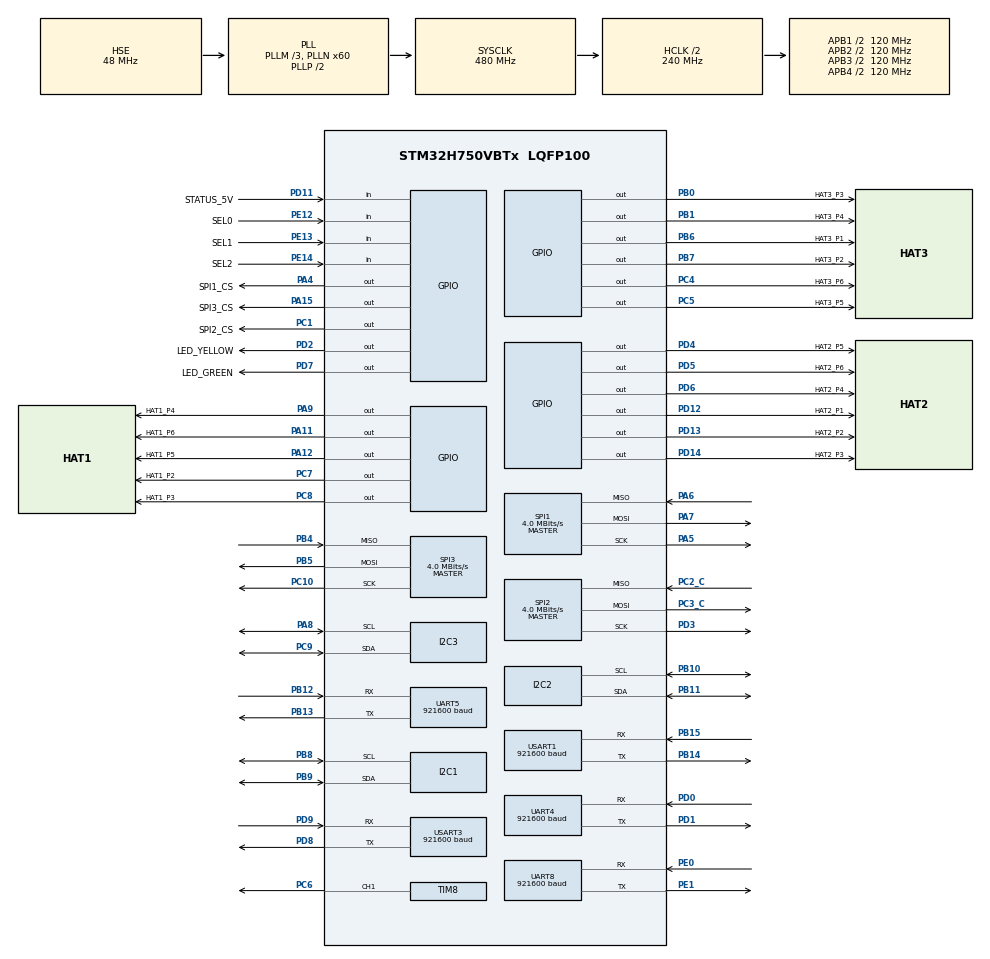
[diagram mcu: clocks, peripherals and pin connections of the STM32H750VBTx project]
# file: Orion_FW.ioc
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CORTEX_M7.AccessPermission-Cortex_Memory_Protection_Unit_Region0_Settings=MPU_REGION_FULL_ACCESS
CORTEX_M7.AccessPermission-Cortex_Memory_Protection_Unit_Region1_Settings=MPU_REGION_FULL_ACCESS
CORTEX_M7.BaseAddress-Cortex_Memory_Protection_Unit_Region0_Settings=0x90000000
CORTEX_M7.BaseAddress-Cortex_Memory_Protection_Unit_Region1_Settings=0x90000000
CORTEX_M7.CPU_DCache=Enabled
CORTEX_M7.CPU_ICache=Enabled
CORTEX_M7.DisableExec-Cortex_Memory_Protection_Unit_Region0_Settings=MPU_INSTRUCTION_ACCESS_DISABLE
CORTEX_M7.DisableExec-Cortex_Memory_Protection_Unit_Region1_Settings=MPU_INSTRUCTION_ACCESS_ENABLE
CORTEX_M7.Enable-Cortex_Memory_Protection_Unit_Region0_Settings=MPU_REGION_ENABLE
CORTEX_M7.Enable-Cortex_Memory_Protection_Unit_Region1_Settings=MPU_REGION_ENABLE
CORTEX_M7.IsBufferable-Cortex_Memory_Protection_Unit_Region0_Settings=MPU_ACCESS_BUFFERABLE
CORTEX_M7.IsBufferable-Cortex_Memory_Protection_Unit_Region1_Settings=MPU_ACCESS_BUFFERABLE
CORTEX_M7.IsCacheable-Cortex_Memory_Protection_Unit_Region0_Settings=MPU_ACCESS_CACHEABLE
CORTEX_M7.IsCacheable-Cortex_Memory_Protection_Unit_Region1_Settings=MPU_ACCESS_CACHEABLE
CORTEX_M7.MPU_Control=MPU_PRIVILEGED_DEFAULT
CORTEX_M7.Size-Cortex_Memory_Protection_Unit_Region0_Settings=MPU_REGION_SIZE_16MB
CORTEX_M7.Size-Cortex_Memory_Protection_Unit_Region1_Settings=MPU_REGION_SIZE_1MB
Dma.Request0=UART4_RX
Dma.Request1=UART5_RX
Dma.Request2=UART8_RX
Dma.Request3=USART3_RX
Dma.UART4_RX.0.Direction=DMA_PERIPH_TO_MEMORY
Dma.UART4_RX.0.EventEnable=DISABLE
Dma.UART4_RX.0.FIFOMode=DMA_FIFOMODE_DISABLE
Dma.UART4_RX.0.Instance=DMA1_Stream1
Dma.UART4_RX.0.MemDataAlignment=DMA_MDATAALIGN_BYTE
Dma.UART4_RX.0.MemInc=DMA_MINC_ENABLE
Dma.UART4_RX.0.Mode=DMA_CIRCULAR
Dma.UART4_RX.0.PeriphDataAlignment=DMA_PDATAALIGN_BYTE
Dma.UART4_RX.0.PeriphInc=DMA_PINC_DISABLE
Dma.UART4_RX.0.Polarity=HAL_DMAMUX_REQ_GEN_RISING
Dma.UART4_RX.0.Priority=DMA_PRIORITY_HIGH
Dma.UART4_RX.0.RequestNumber=1
Dma.UART4_RX.0.SignalID=NONE
Dma.UART4_RX.0.SyncEnable=DISABLE
Dma.UART4_RX.0.SyncPolarity=HAL_DMAMUX_SYNC_NO_EVENT
Dma.UART4_RX.0.SyncRequestNumber=1
Dma.UART4_RX.0.SyncSignalID=NONE
Dma.UART5_RX.1.Direction=DMA_PERIPH_TO_MEMORY
Dma.UART5_RX.1.EventEnable=DISABLE
Dma.UART5_RX.1.FIFOMode=DMA_FIFOMODE_DISABLE
Dma.UART5_RX.1.Instance=DMA1_Stream2
Dma.UART5_RX.1.MemDataAlignment=DMA_MDATAALIGN_BYTE
Dma.UART5_RX.1.MemInc=DMA_MINC_ENABLE
Dma.UART5_RX.1.Mode=DMA_CIRCULAR
Dma.UART5_RX.1.PeriphDataAlignment=DMA_PDATAALIGN_BYTE
Dma.UART5_RX.1.PeriphInc=DMA_PINC_DISABLE
Dma.UART5_RX.1.Polarity=HAL_DMAMUX_REQ_GEN_RISING
Dma.UART5_RX.1.Priority=DMA_PRIORITY_HIGH
Dma.UART5_RX.1.RequestNumber=1
Dma.UART5_RX.1.SignalID=NONE
Dma.UART5_RX.1.SyncEnable=DISABLE
Dma.UART5_RX.1.SyncPolarity=HAL_DMAMUX_SYNC_NO_EVENT
Dma.UART5_RX.1.SyncRequestNumber=1
Dma.UART5_RX.1.SyncSignalID=NONE
Dma.UART8_RX.2.Direction=DMA_PERIPH_TO_MEMORY
Dma.UART8_RX.2.EventEnable=DISABLE
Dma.UART8_RX.2.FIFOMode=DMA_FIFOMODE_DISABLE
Dma.UART8_RX.2.Instance=DMA1_Stream3
Dma.UART8_RX.2.MemDataAlignment=DMA_MDATAALIGN_BYTE
Dma.UART8_RX.2.MemInc=DMA_MINC_ENABLE
Dma.UART8_RX.2.Mode=DMA_CIRCULAR
Dma.UART8_RX.2.PeriphDataAlignment=DMA_PDATAALIGN_BYTE
Dma.UART8_RX.2.PeriphInc=DMA_PINC_DISABLE
Dma.UART8_RX.2.Polarity=HAL_DMAMUX_REQ_GEN_RISING
Dma.UART8_RX.2.Priority=DMA_PRIORITY_HIGH
Dma.UART8_RX.2.RequestNumber=1
Dma.UART8_RX.2.SignalID=NONE
Dma.UART8_RX.2.SyncEnable=DISABLE
Dma.UART8_RX.2.SyncPolarity=HAL_DMAMUX_SYNC_NO_EVENT
Dma.UART8_RX.2.SyncRequestNumber=1
Dma.UART8_RX.2.SyncSignalID=NONE
Dma.USART3_RX.3.Direction=DMA_PERIPH_TO_MEMORY
Dma.USART3_RX.3.EventEnable=DISABLE
Dma.USART3_RX.3.FIFOMode=DMA_FIFOMODE_DISABLE
Dma.USART3_RX.3.Instance=DMA1_Stream0
Dma.USART3_RX.3.MemDataAlignment=DMA_MDATAALIGN_BYTE
Dma.USART3_RX.3.MemInc=DMA_MINC_ENABLE
Dma.USART3_RX.3.Mode=DMA_CIRCULAR
Dma.USART3_RX.3.PeriphDataAlignment=DMA_PDATAALIGN_BYTE
Dma.USART3_RX.3.PeriphInc=DMA_PINC_DISABLE
Dma.USART3_RX.3.Polarity=HAL_DMAMUX_REQ_GEN_RISING
Dma.USART3_RX.3.Priority=DMA_PRIORITY_LOW
Dma.USART3_RX.3.RequestNumber=1
Dma.USART3_RX.3.SignalID=NONE
Dma.USART3_RX.3.SyncEnable=DISABLE
Dma.USART3_RX.3.SyncPolarity=HAL_DMAMUX_SYNC_NO_EVENT
Dma.USART3_RX.3.SyncRequestNumber=1
Dma.USART3_RX.3.SyncSignalID=NONE
FREERTOS.Tasks01=blink01,24,128,StartBlink01,Default,NULL,Dynamic,NULL,NULL;blink02,16,128,StartBlink02,Default,NULL,Dynamic,NULL,NULL
FREERTOS.configUSE_NEWLIB_REENTRANT=1
I2C1.Timing=0x307075B1
I2C2.Timing=0x307075B1
I2C3.Timing=0x307075B1
Mcu.Family=STM32H7
Mcu.Name=STM32H750VBTx
Mcu.Package=LQFP100
NVIC.DMA1_Stream0_IRQn=true\:5\:0\:false\:false\:true\:true\:false\:true\:true
NVIC.DMA1_Stream1_IRQn=true\:5\:0\:false\:false\:true\:true\:false\:true\:true
NVIC.DMA1_Stream2_IRQn=true\:5\:0\:false\:false\:true\:true\:false\:true\:true
NVIC.DMA1_Stream3_IRQn=true\:5\:0\:false\:false\:true\:true\:false\:true\:true
NVIC.PriorityGroup=NVIC_PRIORITYGROUP_4
NVIC.TIM6_DAC_IRQn=true\:15\:0\:false\:false\:true\:false\:false\:true\:true
NVIC.TimeBase=TIM6_DAC_IRQn
NVIC.TimeBaseIP=TIM6
NVIC.USART3_IRQn=true\:5\:0\:false\:false\:true\:true\:true\:true\:true
PA11.GPIO_Label=HAT1_P6
PA11.Signal=GPIO_Output
PA12.GPIO_Label=HAT1_P5
PA12.Signal=GPIO_Output
PA13\ (JTMS/SWDIO).Signal=DEBUG_JTMS-SWDIO
PA14\ (JTCK/SWCLK).Signal=DEBUG_JTCK-SWCLK
PA15\ (JTDI).GPIO_Label=SPI3_CS
PA15\ (JTDI).Signal=GPIO_Output
PA4.GPIO_Label=SPI1_CS
PA4.Signal=GPIO_Output
PA5.Mode=Full_Duplex_Master
PA5.Signal=SPI1_SCK
PA6.Mode=Full_Duplex_Master
PA6.Signal=SPI1_MISO
PA7.Mode=Full_Duplex_Master
PA7.Signal=SPI1_MOSI
PA8.Mode=I2C
PA8.Signal=I2C3_SCL
PA9.GPIO_Label=HAT1_P4
PA9.Signal=GPIO_Output
PB0.GPIO_Label=HAT3_P3
PB0.Signal=GPIO_Output
PB1.GPIO_Label=HAT3_P4
PB1.Signal=GPIO_Output
PB10.Mode=I2C
PB10.Signal=I2C2_SCL
PB11.Mode=I2C
PB11.Signal=I2C2_SDA
PB12.Mode=Asynchronous
PB12.Signal=UART5_RX
PB13.Mode=Asynchronous
PB13.Signal=UART5_TX
PB14.Mode=Asynchronous
PB14.Signal=USART1_TX
PB15.Mode=Asynchronous
PB15.Signal=USART1_RX
PB3\ (JTDO/TRACESWO).Signal=DEBUG_JTDO-SWO
PB4\ (NJTRST).Mode=Full_Duplex_Master
PB4\ (NJTRST).Signal=SPI3_MISO
PB5.Mode=Full_Duplex_Master
PB5.Signal=SPI3_MOSI
PB6.GPIO_Label=HAT3_P1
PB6.Signal=GPIO_Output
PB7.GPIO_Label=HAT3_P2
PB7.Signal=GPIO_Output
PB8.Mode=I2C
PB8.Signal=I2C1_SCL
PB9.Mode=I2C
PB9.Signal=I2C1_SDA
PC1.GPIO_Label=SPI2_CS
PC1.Signal=GPIO_Output
PC10.Mode=Full_Duplex_Master
PC10.Signal=SPI3_SCK
PC14-OSC32_IN\ (OSC32_IN).Mode=LSE-External-Oscillator
PC14-OSC32_IN\ (OSC32_IN).Signal=RCC_OSC32_IN
PC15-OSC32_OUT\ (OSC32_OUT).Mode=LSE-External-Oscillator
PC15-OSC32_OUT\ (OSC32_OUT).Signal=RCC_OSC32_OUT
PC2_C.Mode=Full_Duplex_Master
PC2_C.Signal=SPI2_MISO
PC3_C.Mode=Full_Duplex_Master
PC3_C.Signal=SPI2_MOSI
PC4.GPIO_Label=HAT3_P6
PC4.Signal=GPIO_Output
PC5.GPIO_Label=HAT3_P5
PC5.Signal=GPIO_Output
PC6.Signal=S_TIM8_CH1
PC7.GPIO_Label=HAT1_P2
PC7.Signal=GPIO_Output
PC8.GPIO_Label=HAT1_P3
PC8.Signal=GPIO_Output
PC9.Mode=I2C
PC9.Signal=I2C3_SDA
PD0.Mode=Asynchronous
PD0.Signal=UART4_RX
PD1.Mode=Asynchronous
PD1.Signal=UART4_TX
PD11.GPIO_Label=STATUS_5V
PD11.Signal=GPIO_Input
PD12.GPIO_Label=HAT2_P1
PD12.Signal=GPIO_Output
PD13.GPIO_Label=HAT2_P2
PD13.Signal=GPIO_Output
PD14.GPIO_Label=HAT2_P3
PD14.Signal=GPIO_Output
PD2.GPIO_Label=LED_YELLOW
PD2.Signal=GPIO_Output
PD3.Mode=Full_Duplex_Master
PD3.Signal=SPI2_SCK
PD4.GPIO_Label=HAT2_P5
PD4.Signal=GPIO_Output
PD5.GPIO_Label=HAT2_P6
PD5.Signal=GPIO_Output
PD6.GPIO_Label=HAT2_P4
PD6.Signal=GPIO_Output
PD7.GPIO_Label=LED_GREEN
PD7.Signal=GPIO_Output
PD8.Mode=Asynchronous
PD8.Signal=USART3_TX
PD9.Mode=Asynchronous
PD9.Signal=USART3_RX
PE0.Mode=Asynchronous
PE0.Signal=UART8_RX
PE1.Mode=Asynchronous
PE1.Signal=UART8_TX
PE12.GPIO_Label=SEL0
PE12.Signal=GPIO_Input
PE13.GPIO_Label=SEL1
PE13.Signal=GPIO_Input
PE14.GPIO_Label=SEL2
PE14.Signal=GPIO_Input
PH0-OSC_IN\ (PH0).Mode=HSE-External-Oscillator
PH0-OSC_IN\ (PH0).Signal=RCC_OSC_IN
PH1-OSC_OUT\ (PH1).Mode=HSE-External-Oscillator
PH1-OSC_OUT\ (PH1).Signal=RCC_OSC_OUT
ProjectManager.HeapSize=0x200
ProjectManager.StackSize=0x400
ProjectManager.TargetToolchain=STM32CubeIDE
RCC.ADCFreq_Value=96750000
RCC.APB1Freq_Value=120000000
RCC.APB2Freq_Value=120000000
RCC.APB3Freq_Value=120000000
RCC.APB4Freq_Value=120000000
RCC.CortexFreq_Value=480000000
RCC.D1PPRE=RCC_APB3_DIV2
RCC.D2PPRE1=RCC_APB1_DIV2
RCC.D2PPRE2=RCC_APB2_DIV2
RCC.D3PPRE=RCC_APB4_DIV2
RCC.DIVM1=3
RCC.DIVN1=60
RCC.HCLKFreq_Value=240000000
RCC.HPRE=RCC_HCLK_DIV2
RCC.HSE_VALUE=48000000
RCC.PLLFRACN=0
RCC.PLLSourceVirtual=RCC_PLLSOURCE_HSE
RCC.SPI123CLockSelection=RCC_SPI123CLKSOURCE_CLKP
RCC.SYSCLKFreq_VALUE=480000000
RCC.SYSCLKSource=RCC_SYSCLKSOURCE_PLLCLK
RCC.USBFreq_Value=480000000
SH.S_TIM8_CH1.0=TIM8_CH1,PWM Generation1 CH1
SPI1.BaudRatePrescaler=SPI_BAUDRATEPRESCALER_16
SPI1.CLKPhase=SPI_PHASE_2EDGE
SPI1.CLKPolarity=SPI_POLARITY_HIGH
SPI1.CalculateBaudRate=4.0 MBits/s
SPI1.DataSize=SPI_DATASIZE_8BIT
SPI1.Direction=SPI_DIRECTION_2LINES
SPI1.Mode=SPI_MODE_MASTER
SPI1.VirtualType=VM_MASTER
SPI2.BaudRatePrescaler=SPI_BAUDRATEPRESCALER_16
SPI2.CLKPhase=SPI_PHASE_2EDGE
SPI2.CLKPolarity=SPI_POLARITY_HIGH
SPI2.CalculateBaudRate=4.0 MBits/s
SPI2.DataSize=SPI_DATASIZE_8BIT
SPI2.Direction=SPI_DIRECTION_2LINES
SPI2.Mode=SPI_MODE_MASTER
SPI2.VirtualType=VM_MASTER
SPI3.BaudRatePrescaler=SPI_BAUDRATEPRESCALER_16
SPI3.CLKPhase=SPI_PHASE_2EDGE
SPI3.CLKPolarity=SPI_POLARITY_HIGH
SPI3.CalculateBaudRate=4.0 MBits/s
SPI3.DataSize=SPI_DATASIZE_8BIT
SPI3.Direction=SPI_DIRECTION_2LINES
SPI3.Mode=SPI_MODE_MASTER
SPI3.VirtualType=VM_MASTER
TIM8.AutoReloadPreload=TIM_AUTORELOAD_PRELOAD_ENABLE
TIM8.Channel-PWM\ Generation1\ CH1=TIM_CHANNEL_1
TIM8.Period=20000-1
TIM8.Prescaler=240-1
TIM8.Pulse-PWM\ Generation1\ CH1=1000-1
UART4.BaudRate=921600
UART5.BaudRate=921600
UART8.BaudRate=921600
USART1.BaudRate=921600
USART1.VirtualMode-Asynchronous=VM_ASYNC
USART3.BaudRate=921600
USART3.VirtualMode-Asynchronous=VM_ASYNC
VP_FREERTOS_VS_CMSIS_V2.Mode=CMSIS_V2
VP_SYS_VS_tim6.Mode=TIM6
VP_TIM8_VS_ClockSourceINT.Mode=Internal
board=custom

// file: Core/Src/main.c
/* USER CODE BEGIN Header */
/**
  ******************************************************************************
  * @file           : main.c
  * @brief          : Main program body
  ******************************************************************************
  * @attention
  *
  * Copyright (c) 2022 STMicroelectronics.
  * All rights reserved.
  *
  * This software is licensed under terms that can be found in the LICENSE file
  * in the root directory of this software component.
  * If no LICENSE file comes with this software, it is provided AS-IS.
  *
  ******************************************************************************
  */
/* USER CODE END Header */
#include "main.h"
#include "cmsis_os.h"
#include "dma.h"
#include "i2c.h"
#include "spi.h"
#include "tim.h"
#include "usart.h"
#include "gpio.h"

/* USER CODE BEGIN Includes */
#include "stdio.h"
/* USER CODE END Includes */

void SystemClock_Config(void);
void PeriphCommonClock_Config(void);
static void MPU_Config(void);
void MX_FREERTOS_Init(void);

/* USER CODE BEGIN 0 */
uint8_t Rx_data[100] = {0};

uint16_t counter = 0;
//extern "C" { // C++ cannot override printf, must compile in C
int __io_putchar(int ch) {
    ITM_SendChar(ch);
    return ch;
}
//}

void HAL_UART_RxCpltCallback(UART_HandleTypeDef *huart)
{
  SCB_InvalidateDCache_by_Addr((uint32_t*)(((uint32_t)Rx_data) & ~(uint32_t)0x1F), 100+32);
  HAL_UART_Receive_DMA(&huart3, Rx_data, 100);
  HAL_UART_Transmit(&huart1, Rx_data, sizeof(Rx_data), 100);
}

/* USER CODE END 0 */

int main(void)
{

  /* MPU Configuration--------------------------------------------------------*/
  MPU_Config();

  /* Enable I-Cache---------------------------------------------------------*/
  SCB_EnableICache();

  /* Enable D-Cache---------------------------------------------------------*/
  SCB_EnableDCache();

  /* MCU Configuration--------------------------------------------------------*/

  /* Reset of all peripherals, Initializes the Flash interface and the Systick. */
  HAL_Init();

  /* Configure the system clock */
  SystemClock_Config();

/* Configure the peripherals common clocks */
  PeriphCommonClock_Config();

  /* Initialize all configured peripherals */
  MX_GPIO_Init();
  MX_DMA_Init();
  MX_I2C1_Init();
  MX_I2C2_Init();
  MX_I2C3_Init();
  MX_SPI1_Init();
  MX_SPI2_Init();
  MX_SPI3_Init();
  MX_TIM8_Init();
  MX_USART1_UART_Init();
  MX_USART3_UART_Init();
  MX_UART4_Init();
  MX_UART5_Init();
  MX_UART8_Init();
  /* USER CODE BEGIN 2 */
  uint8_t MSG[100] = {0};
  uint8_t MSG_PWR[45] = {'\0'};
  HAL_TIM_PWM_Start (&htim8, TIM_CHANNEL_1);
//  TIM8->CCR1 = 1;
  int32_t CH1_DC = 1000;

  HAL_UART_Receive_DMA(&huart3, Rx_data, 100);
  /* USER CODE END 2 */

  /* Init scheduler */
  osKernelInitialize();  /* Call init function for freertos objects (in freertos.c) */
  MX_FREERTOS_Init();

  /* Start scheduler */
  osKernelStart();

  /* We should never get here as control is now taken by the scheduler */
  /* Infinite loop */
  while (1)
  {

    /* USER CODE BEGIN 3 */
	  counter++;
	  HAL_Delay(1000);
//	  HAL_UART_Receive (&huart3, Rx_data, 100, 1000);
//	  HAL_GPIO_TogglePin(LED_GREEN_GPIO_Port, LED_GREEN_Pin);
//	  HAL_GPIO_TogglePin(LED_YELLOW_GPIO_Port, LED_YELLOW_Pin);
	  printf("Hello world! %d \n", counter);
//	  printf("\n\nCore=%d, %d MHz\n", SystemCoreClock, SystemCoreClock / 1000000);
	  sprintf((char*)MSG, "Hello world from UART! Tracing counter = %d\r\n", counter);
//	  HAL_UART_Transmit(&huart1, MSG, sizeof(MSG), 100);
//	  HAL_UART_Transmit(&huart5, MSG, sizeof(MSG), 100);
//	  HAL_UART_Transmit(&huart3, MSG, sizeof(MSG), 100);
//	  HAL_UART_Transmit(&huart4, MSG, sizeof(MSG), 100);
//	  HAL_UART_Transmit(&huart8, MSG, sizeof(MSG), 100);
//	  if (HAL_GPIO_ReadPin(STATUS_5V_GPIO_Port, STATUS_5V_Pin)) {
//		  sprintf((char*)MSG_PWR, "Power from external source detected %d \n", counter);
//		  HAL_UART_Transmit(&huart1, MSG_PWR, sizeof(MSG_PWR), 100);
//	  }
//	  while(CH1_DC < 2000)
//	  {
//		  TIM8->CCR1 = CH1_DC;
//		  CH1_DC += 10;
//		  HAL_Delay(2);
//	  }
//	  while(CH1_DC > 1000)
//	  {
//		  TIM8->CCR1 = CH1_DC;
//		  CH1_DC -= 10;
//		  HAL_Delay(2);
//	  }
  }
  /* USER CODE END 3 */
}

void SystemClock_Config(void)
{
  RCC_OscInitTypeDef RCC_OscInitStruct = {0};
  RCC_ClkInitTypeDef RCC_ClkInitStruct = {0};

  /** Supply configuration update enable
  */
  HAL_PWREx_ConfigSupply(PWR_LDO_SUPPLY);

  /** Configure the main internal regulator output voltage
  */
  __HAL_PWR_VOLTAGESCALING_CONFIG(PWR_REGULATOR_VOLTAGE_SCALE1);

  while(!__HAL_PWR_GET_FLAG(PWR_FLAG_VOSRDY)) {}

  __HAL_RCC_SYSCFG_CLK_ENABLE();
  __HAL_PWR_VOLTAGESCALING_CONFIG(PWR_REGULATOR_VOLTAGE_SCALE0);

  while(!__HAL_PWR_GET_FLAG(PWR_FLAG_VOSRDY)) {}

  /** Initializes the RCC Oscillators according to the specified parameters
  * in the RCC_OscInitTypeDef structure.
  */
  RCC_OscInitStruct.OscillatorType = RCC_OSCILLATORTYPE_HSI|RCC_OSCILLATORTYPE_HSE;
  RCC_OscInitStruct.HSEState = RCC_HSE_ON;
  RCC_OscInitStruct.HSIState = RCC_HSI_DIV1;
  RCC_OscInitStruct.HSICalibrationValue = RCC_HSICALIBRATION_DEFAULT;
  RCC_OscInitStruct.PLL.PLLState = RCC_PLL_ON;
  RCC_OscInitStruct.PLL.PLLSource = RCC_PLLSOURCE_HSE;
  RCC_OscInitStruct.PLL.PLLM = 3;
  RCC_OscInitStruct.PLL.PLLN = 60;
  RCC_OscInitStruct.PLL.PLLP = 2;
  RCC_OscInitStruct.PLL.PLLQ = 2;
  RCC_OscInitStruct.PLL.PLLR = 2;
  RCC_OscInitStruct.PLL.PLLRGE = RCC_PLL1VCIRANGE_3;
  RCC_OscInitStruct.PLL.PLLVCOSEL = RCC_PLL1VCOWIDE;
  RCC_OscInitStruct.PLL.PLLFRACN = 0;
  if (HAL_RCC_OscConfig(&RCC_OscInitStruct) != HAL_OK)
  {
    Error_Handler();
  }

  /** Initializes the CPU, AHB and APB buses clocks
  */
  RCC_ClkInitStruct.ClockType = RCC_CLOCKTYPE_HCLK|RCC_CLOCKTYPE_SYSCLK
                              |RCC_CLOCKTYPE_PCLK1|RCC_CLOCKTYPE_PCLK2
                              |RCC_CLOCKTYPE_D3PCLK1|RCC_CLOCKTYPE_D1PCLK1;
  RCC_ClkInitStruct.SYSCLKSource = RCC_SYSCLKSOURCE_PLLCLK;
  RCC_ClkInitStruct.SYSCLKDivider = RCC_SYSCLK_DIV1;
  RCC_ClkInitStruct.AHBCLKDivider = RCC_HCLK_DIV2;
  RCC_ClkInitStruct.APB3CLKDivider = RCC_APB3_DIV2;
  RCC_ClkInitStruct.APB1CLKDivider = RCC_APB1_DIV2;
  RCC_ClkInitStruct.APB2CLKDivider = RCC_APB2_DIV2;
  RCC_ClkInitStruct.APB4CLKDivider = RCC_APB4_DIV2;

  if (HAL_RCC_ClockConfig(&RCC_ClkInitStruct, FLASH_LATENCY_4) != HAL_OK)
  {
    Error_Handler();
  }
}

void PeriphCommonClock_Config(void)
{
  RCC_PeriphCLKInitTypeDef PeriphClkInitStruct = {0};

  /** Initializes the peripherals clock
  */
  PeriphClkInitStruct.PeriphClockSelection = RCC_PERIPHCLK_CKPER;
  PeriphClkInitStruct.CkperClockSelection = RCC_CLKPSOURCE_HSI;
  if (HAL_RCCEx_PeriphCLKConfig(&PeriphClkInitStruct) != HAL_OK)
  {
    Error_Handler();
  }
}

/* MPU Configuration */

void MPU_Config(void)
{
  MPU_Region_InitTypeDef MPU_InitStruct = {0};

  /* Disables the MPU */
  HAL_MPU_Disable();

  /** Initializes and configures the Region and the memory to be protected
  */
  MPU_InitStruct.Enable = MPU_REGION_ENABLE;
  MPU_InitStruct.Number = MPU_REGION_NUMBER0;
  MPU_InitStruct.BaseAddress = 0x90000000;
  MPU_InitStruct.Size = MPU_REGION_SIZE_16MB;
  MPU_InitStruct.SubRegionDisable = 0x0;
  MPU_InitStruct.TypeExtField = MPU_TEX_LEVEL0;
  MPU_InitStruct.AccessPermission = MPU_REGION_FULL_ACCESS;
  MPU_InitStruct.DisableExec = MPU_INSTRUCTION_ACCESS_DISABLE;
  MPU_InitStruct.IsShareable = MPU_ACCESS_NOT_SHAREABLE;
  MPU_InitStruct.IsCacheable = MPU_ACCESS_CACHEABLE;
  MPU_InitStruct.IsBufferable = MPU_ACCESS_BUFFERABLE;

  HAL_MPU_ConfigRegion(&MPU_InitStruct);

  /** Initializes and configures the Region and the memory to be protected
  */
  MPU_InitStruct.Number = MPU_REGION_NUMBER1;
  MPU_InitStruct.Size = MPU_REGION_SIZE_1MB;
  MPU_InitStruct.DisableExec = MPU_INSTRUCTION_ACCESS_ENABLE;

  HAL_MPU_ConfigRegion(&MPU_InitStruct);
  /* Enables the MPU */
  HAL_MPU_Enable(MPU_PRIVILEGED_DEFAULT);

}

void HAL_TIM_PeriodElapsedCallback(TIM_HandleTypeDef *htim)
{
  if (htim->Instance == TIM6) {
    HAL_IncTick();
  }
}

void Error_Handler(void)
{
  __disable_irq();
  while (1)
  {
  }
}
